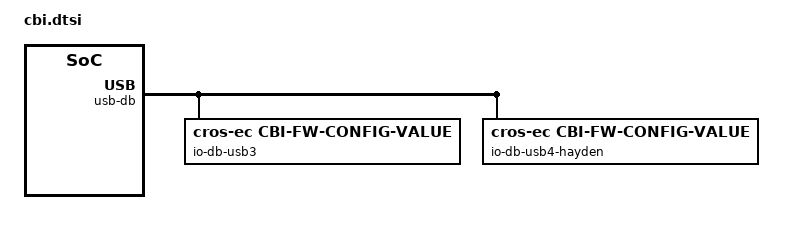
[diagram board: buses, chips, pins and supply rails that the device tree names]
/* Copyright 2023 The ChromiumOS Authors
 * Use of this source code is governed by a BSD-style license that can be
 * found in the LICENSE file.
 */

/ {
	rex-fw-config {
		compatible = "cros-ec,cbi-fw-config";

		/*
		 * FW_CONFIG field to enable USB DB.
		 */
		usb-db {
			enum-name = "FW_USB_DB";
			start = <4>;
			size = <3>;

			io-db-usb3 {
				compatible = "cros-ec,cbi-fw-config-value";
				enum-name = "FW_USB_DB_USB3";
				value = <0>;
			};
			io-db-usb4-hayden {
				compatible = "cros-ec,cbi-fw-config-value";
				enum-name = "FW_USB_DB_USB4_HB";
				value = <1>;
				default;
			};
		};
	};
};
